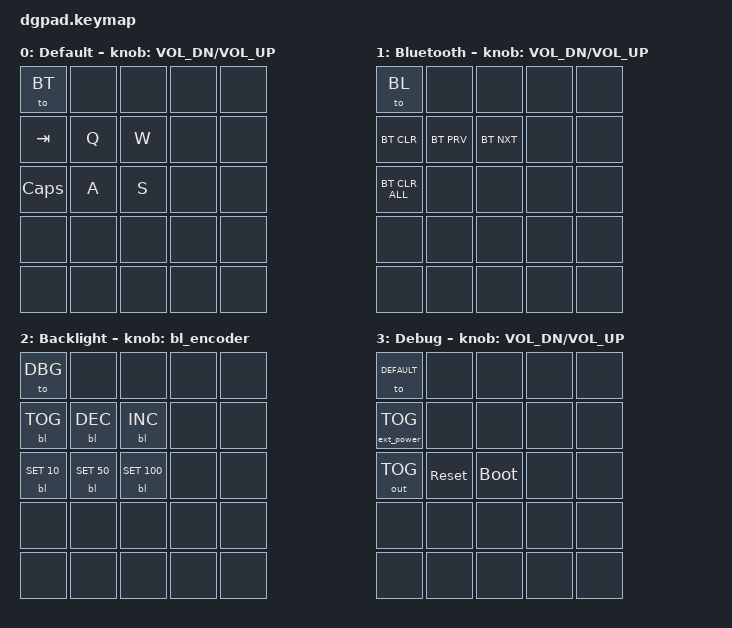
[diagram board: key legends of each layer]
#include <behaviors.dtsi>
#include <dt-bindings/zmk/keys.h>
#include <dt-bindings/zmk/bt.h>
#include <dt-bindings/zmk/outputs.h>
#include <dt-bindings/zmk/backlight.h>
#include <dt-bindings/zmk/ext_power.h>

#define DEFAULT 0
#define BT   1
#define BL   2
#define DBG  3

/ {
    sensors {
		compatible = "zmk,keymap-sensors";
		sensors = <&left_encoder>;
        triggers-per-rotation = <20>;
	};

    behaviors {
        bl_encoder: bl_encoder {
            compatible = "zmk,behavior-sensor-rotate";
            #sensor-binding-cells = <0>;
            bindings = <&bl BL_INC>, <&bl BL_DEC>;
        };
    };

    keymap {
        compatible = "zmk,keymap";

        default_layer {
            label = "Default";
            bindings = <
                &to BT        &none  &none  &none  &none
                &kp TAB       &kp Q  &kp W  &none  &none
                &kp CAPSLOCK  &kp A  &kp S  &none  &none
                &none         &none  &none  &none  &none
                &none         &none  &none  &none  &none
            >;

            sensor-bindings = <&inc_dec_kp C_VOL_DN C_VOL_UP>;
        };

        bt_layer {
            label = "Bluetooth";
            bindings = <
                &to BL         &none       &none       &none  &none
                &bt BT_CLR     &bt BT_PRV  &bt BT_NXT  &none  &none
                &bt BT_CLR_ALL &none       &none       &none  &none
                &none          &none       &none       &none  &none
                &none          &none       &none       &none  &none
            >;
            
            sensor-bindings = <&inc_dec_kp C_VOL_DN C_VOL_UP>;
        };

        bl_layer {
            label = "Backlight";
            bindings = <
                &to DBG       &none         &none           &none  &none
                &bl BL_TOG    &bl BL_DEC    &bl BL_INC      &none  &none
                &bl BL_SET 10 &bl BL_SET 50 &bl BL_SET 100  &none  &none
                &none         &none         &none           &none  &none
                &none         &none         &none           &none  &none
            >;

            sensor-bindings = <&bl_encoder>;
        };

        dbg_layer {
            label = "Debug";
            bindings = <
                &to DEFAULT       &none       &none        &none  &none
                &ext_power EP_TOG &none       &none        &none  &none
                &out OUT_TOG      &sys_reset  &bootloader  &none  &none
                &none             &none       &none        &none  &none
                &none             &none       &none        &none  &none
            >;

            sensor-bindings = <&inc_dec_kp C_VOL_DN C_VOL_UP>;
        };

    };
};

nice_view_spi: &spi0 {
    cs-gpios = <&pro_micro 4 GPIO_ACTIVE_HIGH>;
};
